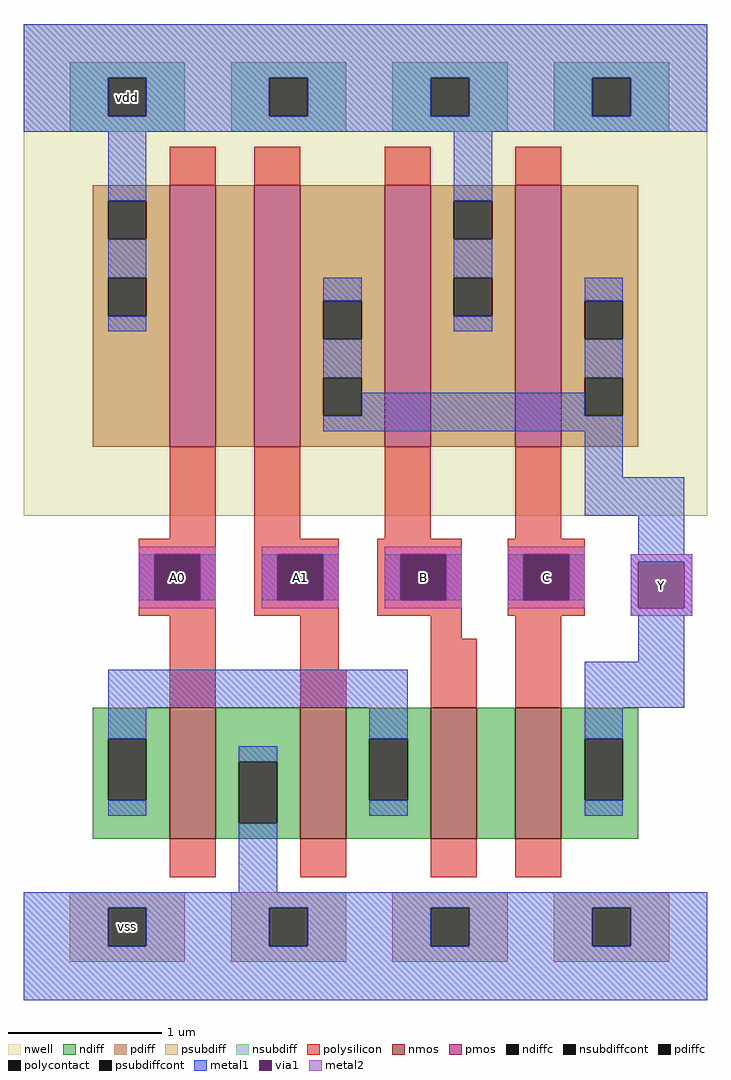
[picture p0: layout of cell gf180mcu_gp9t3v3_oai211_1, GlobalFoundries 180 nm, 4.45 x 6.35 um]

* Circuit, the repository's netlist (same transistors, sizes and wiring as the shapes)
* NGSPICE file created from gf180mcu_gp9t3v3_oai211_1.ext - technology: gf180mcuD

.subckt gf180mcu_gp9t3v3_oai211_1 A0 A1 B C Y vdd vss
X0 Y C vdd vdd pfet_03v3 ad=0.85p pd=4.4u as=0.4675p ps=2.25u w=1.7u l=0.3u
X1 a_n350_150# A0 vdd vdd pfet_03v3 ad=0.2125p pd=1.95u as=0.85p ps=4.4u w=1.7u l=0.3u
X2 a_n510_n360# A1 vss vss nfet_03v3 ad=0.23375p pd=1.4u as=0.23375p ps=1.4u w=0.85u l=0.3u
X3 Y C a_n10_n360# vss nfet_03v3 ad=0.425p pd=2.7u as=0.10625p ps=1.1u w=0.85u l=0.3u
X4 Y A1 a_n350_150# vdd pfet_03v3 ad=0.4675p pd=2.25u as=0.2125p ps=1.95u w=1.7u l=0.3u
X5 vdd B Y vdd pfet_03v3 ad=0.4675p pd=2.25u as=0.4675p ps=2.25u w=1.7u l=0.3u
X6 vss A0 a_n510_n360# vss nfet_03v3 ad=0.23375p pd=1.4u as=0.425p ps=2.7u w=0.85u l=0.3u
X7 a_n10_n360# B a_n510_n360# vss nfet_03v3 ad=0.10625p pd=1.1u as=0.23375p ps=1.4u w=0.85u l=0.3u
.ends

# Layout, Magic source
magic
tech gf180mcuD
<< nwell >>
rect -60 6 29 70
<< nmos >>
rect -41 -36 -35 -19
rect -24 -36 -18 -19
rect -7 -36 -1 -19
rect 4 -36 10 -19
<< pmos >>
rect -41 15 -35 49
rect -30 15 -24 49
rect -13 15 -7 49
rect 4 15 10 49
<< ndiff >>
rect -51 -23 -41 -19
rect -51 -31 -49 -23
rect -44 -31 -41 -23
rect -51 -36 -41 -31
rect -35 -26 -24 -19
rect -35 -34 -32 -26
rect -27 -34 -24 -26
rect -35 -36 -24 -34
rect -18 -23 -7 -19
rect -18 -31 -15 -23
rect -10 -31 -7 -23
rect -18 -36 -7 -31
rect -1 -36 4 -19
rect 10 -23 20 -19
rect 10 -31 13 -23
rect 18 -31 20 -23
rect 10 -36 20 -31
<< pdiff >>
rect -51 47 -41 49
rect -51 42 -49 47
rect -44 42 -41 47
rect -51 37 -41 42
rect -51 32 -49 37
rect -44 32 -41 37
rect -51 15 -41 32
rect -35 15 -30 49
rect -24 34 -13 49
rect -24 29 -21 34
rect -16 29 -13 34
rect -24 24 -13 29
rect -24 19 -21 24
rect -16 19 -13 24
rect -24 15 -13 19
rect -7 47 4 49
rect -7 42 -4 47
rect 1 42 4 47
rect -7 37 4 42
rect -7 32 -4 37
rect 1 32 4 37
rect -7 15 4 32
rect 10 34 20 49
rect 10 29 13 34
rect 18 29 20 34
rect 10 24 20 29
rect 10 19 13 24
rect 18 19 20 24
rect 10 15 20 19
<< ndiffc >>
rect -49 -31 -44 -23
rect -32 -34 -27 -26
rect -15 -31 -10 -23
rect 13 -31 18 -23
<< pdiffc >>
rect -49 42 -44 47
rect -49 32 -44 37
rect -21 29 -16 34
rect -21 19 -16 24
rect -4 42 1 47
rect -4 32 1 37
rect 13 29 18 34
rect 13 19 18 24
<< psubdiff >>
rect -54 -45 -39 -43
rect -54 -50 -49 -45
rect -44 -50 -39 -45
rect -54 -52 -39 -50
rect -33 -45 -18 -43
rect -33 -50 -28 -45
rect -23 -50 -18 -45
rect -33 -52 -18 -50
rect -12 -45 3 -43
rect -12 -50 -7 -45
rect -2 -50 3 -45
rect -12 -52 3 -50
rect 9 -45 24 -43
rect 9 -50 14 -45
rect 19 -50 24 -45
rect 9 -52 24 -50
<< nsubdiff >>
rect -54 63 -39 65
rect -54 58 -49 63
rect -44 58 -39 63
rect -54 56 -39 58
rect -33 63 -18 65
rect -33 58 -28 63
rect -23 58 -18 63
rect -33 56 -18 58
rect -12 63 3 65
rect -12 58 -7 63
rect -2 58 3 63
rect -12 56 3 58
rect 9 63 24 65
rect 9 58 14 63
rect 19 58 24 63
rect 9 56 24 58
<< psubdiffcont >>
rect -49 -50 -44 -45
rect -28 -50 -23 -45
rect -7 -50 -2 -45
rect 14 -50 19 -45
<< nsubdiffcont >>
rect -49 58 -44 63
rect -28 58 -23 63
rect -7 58 -2 63
rect 14 58 19 63
<< polysilicon >>
rect -41 49 -35 54
rect -30 49 -24 54
rect -13 49 -7 54
rect 4 49 10 54
rect -41 3 -35 15
rect -45 1 -35 3
rect -45 -5 -43 1
rect -37 -5 -35 1
rect -45 -7 -35 -5
rect -30 3 -24 15
rect -13 3 -7 15
rect 4 3 10 15
rect -30 1 -19 3
rect -30 -5 -27 1
rect -21 -5 -19 1
rect -30 -7 -19 -5
rect -14 1 -3 3
rect -14 -5 -11 1
rect -5 -5 -3 1
rect -14 -7 -3 -5
rect 3 1 13 3
rect 3 -5 5 1
rect 11 -5 13 1
rect 3 -7 13 -5
rect -41 -19 -35 -7
rect -24 -14 -19 -7
rect -7 -10 -3 -7
rect -24 -19 -18 -14
rect -7 -19 -1 -10
rect 4 -19 10 -7
rect -41 -41 -35 -36
rect -24 -41 -18 -36
rect -7 -41 -1 -36
rect 4 -41 10 -36
<< polycontact >>
rect -43 -5 -37 1
rect -27 -5 -21 1
rect -11 -5 -5 1
rect 5 -5 11 1
<< metal1 >>
rect -60 63 29 70
rect -60 58 -49 63
rect -44 58 -28 63
rect -23 58 -7 63
rect -2 58 14 63
rect 19 58 29 63
rect -60 56 29 58
rect -49 47 -44 56
rect -49 37 -44 42
rect -4 47 1 56
rect -4 37 1 42
rect -49 30 -44 32
rect -21 34 -16 37
rect -4 30 1 32
rect 13 34 18 37
rect -21 24 -16 29
rect 13 24 18 29
rect -16 19 13 22
rect -21 17 18 19
rect 13 11 18 17
rect 13 6 26 11
rect 20 1 26 6
rect -45 -5 -43 1
rect -37 -5 -35 1
rect -29 -5 -27 1
rect -21 -5 -19 1
rect -13 -5 -11 1
rect -5 -5 -3 1
rect 3 -5 5 1
rect 11 -5 13 1
rect 19 0 27 1
rect 19 -6 20 0
rect 26 -6 27 0
rect 19 -7 27 -6
rect 20 -13 26 -7
rect -49 -19 -10 -14
rect -49 -23 -44 -19
rect -15 -23 -10 -19
rect -49 -33 -44 -31
rect -32 -26 -27 -24
rect -15 -33 -10 -31
rect 13 -19 26 -13
rect 13 -23 18 -19
rect 13 -33 18 -31
rect -32 -43 -27 -34
rect -60 -45 29 -43
rect -60 -50 -49 -45
rect -44 -50 -28 -45
rect -23 -50 -7 -45
rect -2 -50 14 -45
rect 19 -50 29 -45
rect -60 -57 29 -50
<< via1 >>
rect -43 -5 -37 1
rect -27 -5 -21 1
rect -11 -5 -5 1
rect 5 -5 11 1
rect 20 -6 26 0
<< metal2 >>
rect -45 1 -35 2
rect -45 -5 -43 1
rect -37 -5 -35 1
rect -45 -6 -35 -5
rect -29 1 -19 2
rect -29 -5 -27 1
rect -21 -5 -19 1
rect -29 -6 -19 -5
rect -13 1 -3 2
rect -13 -5 -11 1
rect -5 -5 -3 1
rect -13 -6 -3 -5
rect 3 1 13 2
rect 3 -5 5 1
rect 11 -5 13 1
rect 3 -6 13 -5
rect 19 0 27 1
rect 19 -6 20 0
rect 26 -6 27 0
rect 19 -7 27 -6
<< labels >>
rlabel metal2 -27 -5 -21 1 0 A1
rlabel metal2 -11 -5 -5 1 0 B
rlabel metal2 5 -5 11 1 0 C
rlabel nsubdiffcont -49 58 -44 63 0 vdd
rlabel psubdiffcont -49 -50 -44 -45 0 vss
rlabel metal2 20 -6 26 0 0 Y
rlabel metal2 -43 -5 -37 1 0 A0
<< end >>
